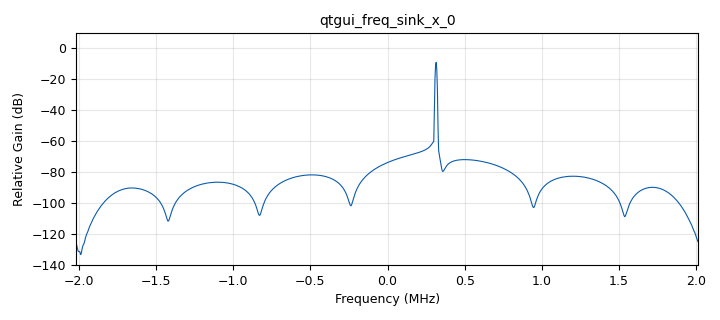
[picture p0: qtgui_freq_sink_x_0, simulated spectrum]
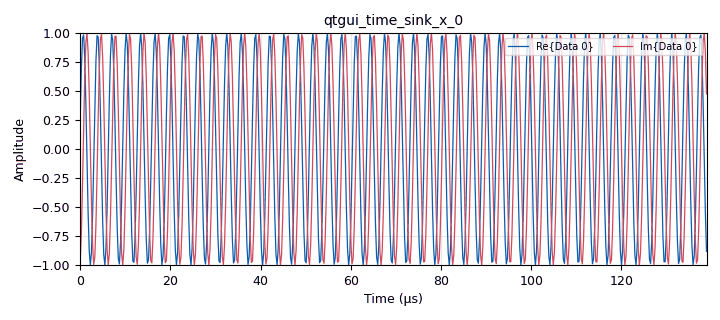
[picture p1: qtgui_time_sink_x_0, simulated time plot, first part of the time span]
options:
  parameters:
    generate_options: qt_gui
    id: fmcw
    output_language: python
    title: FMCW Simulation
  states: {}

blocks:
- name: deci
  id: variable
  parameters:
    value: '220'
  states: {}
- name: f_c
  id: variable
  parameters:
    value: '2'
  states: {}
- name: f_dev
  id: variable
  parameters:
    value: '10'
  states: {}
- name: samp_rate
  id: variable
  parameters:
    value: '4_032_980'
  states: {}
- name: v0
  id: variable
  parameters:
    value: '524288'
  states: {}
- name: analog_sig_source_x_0
  id: analog_sig_source_x
  parameters:
    amp: f_dev
    freq: '3.84'
    offset: f_c
    phase: '0'
    samp_rate: samp_rate
    type: float
    waveform: analog.GR_SAW_WAVE
  states: {}
- name: blocks_delay_0
  id: blocks_delay
  parameters:
    delay: '1500'
    type: complex
  states: {}
- name: blocks_head_0
  id: blocks_head
  parameters:
    num_items: '20_000_000'
    type: complex
  states: {}
- name: blocks_multiply_conjugate_cc_0
  id: blocks_multiply_conjugate_cc
  parameters: {}
  states: {}
- name: blocks_skiphead_0
  id: blocks_skiphead
  parameters:
    num_items: v0
    type: complex
  states: {}
- name: blocks_vco_c_0
  id: blocks_vco_c
  parameters:
    amplitude: '1'
    samp_rate: samp_rate
    sensitivity: '628318'
  states: {}
- name: chirp_time
  id: parameter
  parameters:
    value: '0.260'
  states: {}
- name: qtgui_freq_sink_x_0
  id: qtgui_freq_sink_x
  parameters:
    bw: samp_rate
    fc: '0'
    fftsize: '1024'
    type: complex
  states: {}
- name: qtgui_time_sink_x_0
  id: qtgui_time_sink_x
  parameters:
    size: '1024'
    srate: samp_rate
    type: complex
  states: {}
- name: rational_resampler_xxx_0
  id: rational_resampler_xxx
  parameters:
    decim: deci
    interp: '1'
    type: ccc
  states: {}

connections:
- [analog_sig_source_x_0, '0', blocks_vco_c_0, '0']
- [blocks_delay_0, '0', blocks_multiply_conjugate_cc_0, '1']
- [blocks_head_0, '0', blocks_delay_0, '0']
- [blocks_head_0, '0', blocks_multiply_conjugate_cc_0, '0']
- [blocks_multiply_conjugate_cc_0, '0', rational_resampler_xxx_0, '0']
- [blocks_skiphead_0, '0', blocks_head_0, '0']
- [blocks_vco_c_0, '0', blocks_skiphead_0, '0']
- [rational_resampler_xxx_0, '0', qtgui_freq_sink_x_0, '0']
- [rational_resampler_xxx_0, '0', qtgui_time_sink_x_0, '0']

metadata:
  file_format: 1
